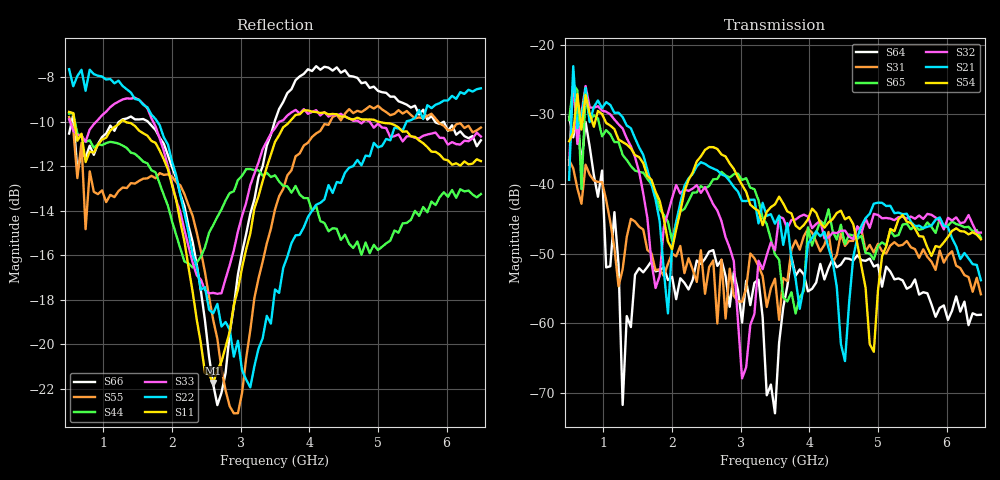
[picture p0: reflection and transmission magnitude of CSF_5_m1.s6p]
!Keysight Technologies,M9804A,MY58100912,A.14.10.03
!Date: Thursday, April 27, 2023 10:28:33
!Correction: S11(C  6-Port  )
!S12(C  6-Port  )
!S13(C  6-Port  )
!S14(C  6-Port  )
!S15(C  6-Port  )
!S16(C  6-Port  )
!S21(C  6-Port  )
!S22(C  6-Port  )
!S23(C  6-Port  )
!S24(C  6-Port  )
!S25(C  6-Port  )
!S26(C  6-Port  )
!S31(C  6-Port  )
!S32(C  6-Port  )
!S33(C  6-Port  )
!S34(C  6-Port  )
!S35(C  6-Port  )
!S36(C  6-Port  )
!S41(C  6-Port  )
!S42(C  6-Port  )
!S43(C  6-Port  )
!S44(C  6-Port  )
!S45(C  6-Port  )
!S46(C  6-Port  )
!S51(C  6-Port  )
!S52(C  6-Port  )
!S53(C  6-Port  )
!S54(C  6-Port  )
!S55(C  6-Port  )
!S56(C  6-Port  )
!S61(C  6-Port  )
!S62(C  6-Port  )
!S63(C  6-Port  )
!S64(C  6-Port  )
!S65(C  6-Port  )
!S66(C  6-Port  )
!S6P File: Measurement: :
# Hz S  RI  R 50
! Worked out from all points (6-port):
!   101 points, 500 MHz to 6.5 GHz, reference 50 ohm
!   strongest paths, dB at 500 MHz, 2 GHz, 3.5 GHz, 5 GHz, 6.5 GHz:
!     S54: -33.9, -49.4, -42.9, -55.3, -47.9
!     S21: -39.4, -48.9, -45.7, -42.7, -53.8
!     S32: -37.3, -42.1, -49.5, -44.5, -47.0
!     S65: -30.8, -48.1, -50.1, -48.9, -47.7
!     S31: -36.6, -50.0, -53.6, -48.6, -55.8
!     S64: -30.4, -53.3, -72.9, -51.6, -58.8
!   lowest |S11| = -21.7 dB at 2.6 GHz (marker M1), VSWR 1.18, Z = 42.7 + j2 ohm
!   |S11| at or under -10 dB: 578.4 MHz to 1.258 GHz (679.7 MHz wide, 74 % of centre); 1.318 GHz to 3.714 GHz (2.395 GHz wide, 95.2 % of centre); 4.999 GHz to end of sweep
